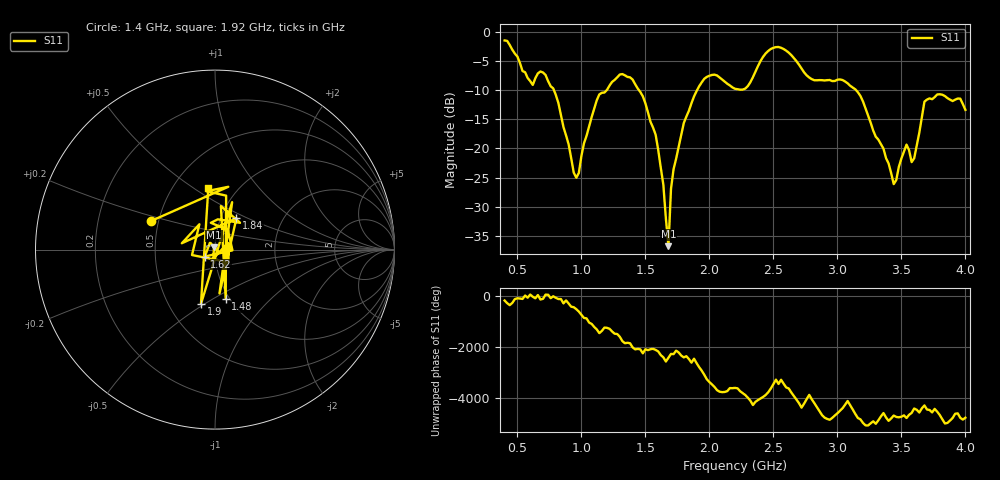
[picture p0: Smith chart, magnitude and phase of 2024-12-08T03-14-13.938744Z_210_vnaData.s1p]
!Created with skrf (http://scikit-rf.org).
# Hz S RI R 50.0
!freq ReS11 ImS11
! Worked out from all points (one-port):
!   181 points, 400 MHz to 4 GHz, reference 50 ohm
!   lowest |S11| = -36.8 dB at 1.68 GHz (marker M1), VSWR 1.03, Z = 49.4 + j1.31 ohm
!   |S11| at or under -10 dB: 786.3 MHz to 1.196 GHz (409.4 MHz wide, 41.3 % of centre); 1.451 GHz to 1.902 GHz (451.2 MHz wide, 26.9 % of centre); 3.148 GHz to end of sweep
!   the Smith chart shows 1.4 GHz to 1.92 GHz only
!   S11 on the Smith chart (normalised r, x): 1.4 GHz: 0.45, +0.17; 1.48 GHz: 0.96, -0.57; 1.62 GHz: 0.89, -0.07; 1.84 GHz: 1.18, +0.43; 1.9 GHz: 0.72, -0.48; 1.92 GHz: 0.74, +0.57
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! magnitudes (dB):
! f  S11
! 400 MHz  -1.4
! 620 MHz  -9.1
! 720 MHz  -7.3
! 860 MHz  -16.3
! 960 MHz  -25.0
! 1.12 GHz  -11.7
! 1.3 GHz  -7.3
! 1.4 GHz  -8.1
! 1.48 GHz  -11.0
! 1.58 GHz  -17.6
! 1.62 GHz  -23.3
! 1.68 GHz  -36.8
! 1.7 GHz  -26.9
! 1.76 GHz  -19.7
! 1.84 GHz  -13.5
! 1.9 GHz  -10.1
! 1.92 GHz  -9.3
! 2.04 GHz  -7.3
! 2.2 GHz  -9.7
! 2.48 GHz  -2.9
! 2.66 GHz  -4.4
! 3.1 GHz  -9.2
! 3.2 GHz  -11.9
! 3.44 GHz  -26.1
! 3.56 GHz  -20.3
! 3.6 GHz  -21.7
! 3.7 GHz  -11.6
! 4 GHz  -13.3
